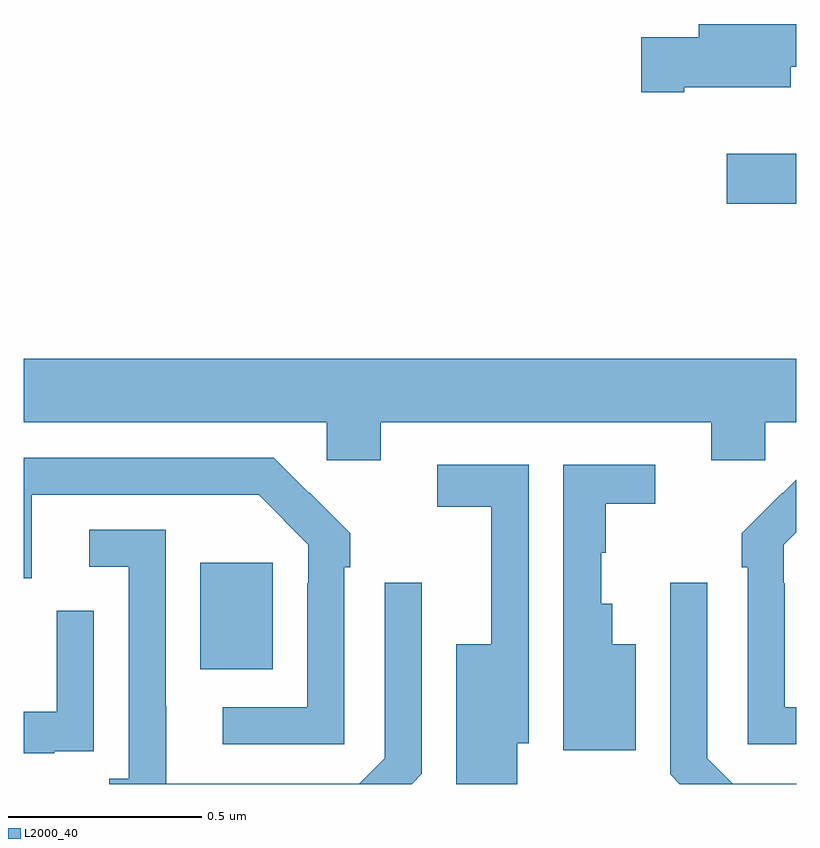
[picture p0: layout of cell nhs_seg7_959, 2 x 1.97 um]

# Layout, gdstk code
import gdstk
lib = gdstk.Library(unit=1e-6, precision=1e-09)
def R(c, l, rs):  # rectangles x0, y0, x1, y1
    for r in rs: c.add(gdstk.rectangle(r[:2], r[2:], *l))
def P(c, l, *ps):  # polygons
    for p in ps: c.add(gdstk.Polygon(p, *l))
L2000_40 = (2000, 40)

nhs_seg7_959 = lib.new_cell('nhs_seg7_959')
R(nhs_seg7_959, L2000_40, [(124.457,1013.297,124.645,1013.572), (125.82,1014.502,126,1014.631)])
P(nhs_seg7_959, L2000_40, [(125.71,1014.803),(125.986,1014.803),(125.986,1014.857),(126,1014.857),(126,1014.967),(125.747,1014.967),(125.747,1014.933),(125.598,1014.933),(125.598,1014.791),(125.71,1014.791)],
  [(124.924,1013.936),(125.78,1013.936),(125.78,1013.838),(125.919,1013.838),(125.919,1013.936),(126,1013.936),(126,1014.1),(124,1014.1),(124,1013.936),(124.785,1013.936),(124.785,1013.838),(124.924,1013.838)],
  [(124.83,1013.561),(124.845,1013.561),(124.845,1013.649),(124.74,1013.754),(124.739,1013.753),(124.648,1013.844),(124,1013.844),(124,1013.532),(124.021,1013.532),(124.021,1013.748),(124.609,1013.748),(124.737,1013.619),(124.737,1013.519),(124.734,1013.519),(124.734,1013.199),(124.515,1013.199),(124.515,1013.103),(124.83,1013.103)],
  [(125.278,1013.105),(125.307,1013.105),(125.307,1013.826),(125.07,1013.826),(125.07,1013.718),(125.21,1013.718),(125.21,1013.362),(125.12,1013.362),(125.12,1013),(125.278,1013)],
  [(125.584,1013.362),(125.524,1013.362),(125.524,1013.467),(125.495,1013.467),(125.495,1013.598),(125.506,1013.598),(125.506,1013.725),(125.635,1013.725),(125.635,1013.826),(125.397,1013.826),(125.397,1013.358),(125.396,1013.358),(125.396,1013.087),(125.584,1013.087)],
  [(126,1013.199),(125.97,1013.199),(125.97,1013.519),(125.967,1013.519),(125.967,1013.619),(126,1013.652),(126,1013.788),(125.965,1013.753),(125.964,1013.754),(125.859,1013.649),(125.859,1013.561),(125.874,1013.561),(125.874,1013.103),(126,1013.103)],
  [(125.031,1013.027),(125.031,1013.521),(124.935,1013.521),(124.935,1013.067),(124.869,1013.001),(124.369,1013.001),(124.369,1013.201),(124.368,1013.201),(124.368,1013.658),(124.17,1013.658),(124.17,1013.562),(124.272,1013.562),(124.272,1013.014),(124.221,1013.014),(124.221,1013),(125.004,1013)],
  [(126,1013.001),(125.835,1013.001),(125.769,1013.067),(125.769,1013.521),(125.673,1013.521),(125.673,1013.025),(125.698,1013),(126,1013)],
  [(124.079,1013.085),(124.181,1013.085),(124.181,1013.194),(124.182,1013.194),(124.182,1013.449),(124.086,1013.449),(124.086,1013.187),(124,1013.187),(124,1013.079),(124.079,1013.079)])

lib.write_gds('nhs_seg7_959.gds')
